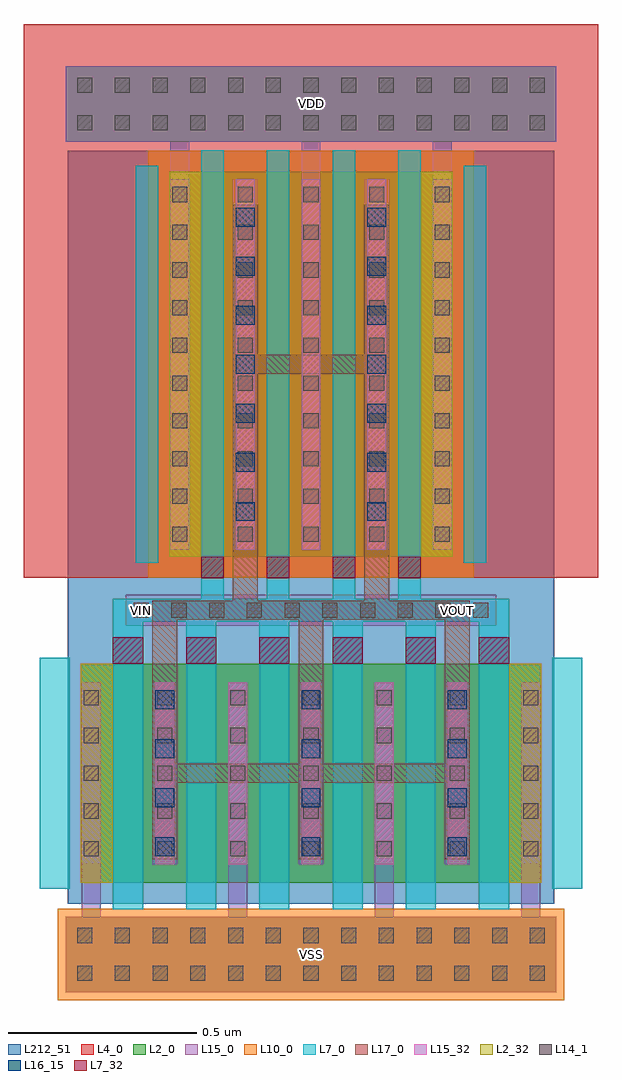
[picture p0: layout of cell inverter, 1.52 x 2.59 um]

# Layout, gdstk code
import gdstk
lib = gdstk.Library(unit=1e-6, precision=1e-09)
def R(c, l, rs):  # rectangles x0, y0, x1, y1
    for r in rs: c.add(gdstk.rectangle(r[:2], r[2:], *l))
def A(c, l, x, y, w, h, nx, ny, dx, dy):  # array of equal rectangles
    R(c, l, [(x+i*dx, y+j*dy, x+i*dx+w, y+j*dy+h) for i in range(nx) for j in range(ny)])
L2_0 = (2, 0)
L2_32 = (2, 32)
L4_0 = (4, 0)
L7_0 = (7, 0)
L7_32 = (7, 32)
L10_0 = (10, 0)
L14_1 = (14, 1)
L15_0 = (15, 0)
L15_32 = (15, 32)
L16_15 = (16, 15)
L17_0 = (17, 0)
L212_51 = (212, 51)

nmosininverter = lib.new_cell('nmosIninverter')
R(nmosininverter, L2_0, [(-0.61,-0.29,0.61,0.29)])
R(nmosininverter, L2_32, [(-0.61,-0.29,-0.525,0.29), (0.525,-0.29,0.61,0.29)])
A(nmosininverter, L7_0, -0.525, -0.36, 0.08, 0.72, 6, 1, 0.194, 0)
R(nmosininverter, L7_0, [(-0.719,-0.306,-0.639,0.306), (0.639,-0.306,0.719,0.306)])
A(nmosininverter, L7_32, -0.525, 0.29, 0.08, 0.07, 6, 1, 0.194, 0)
A(nmosininverter, L14_1, -0.602, -0.22, 0.04, 0.04, 7, 5, 0.194, 0.1)
A(nmosininverter, L15_0, -0.607, -0.241, 0.05, 0.482, 7, 1, 0.194, 0)
A(nmosininverter, L15_32, -0.607, -0.241, 0.05, 0.482, 7, 1, 0.194, 0)
R(nmosininverter, L212_51, [(-0.645,-0.346,0.645,0.346)])

pmosininverter = lib.new_cell('pmosIninverter')
R(pmosininverter, L2_0, [(-0.376,-0.51,0.376,0.51)])
R(pmosininverter, L2_32, [(-0.376,-0.51,-0.291,0.51), (0.291,-0.51,0.376,0.51)])
A(pmosininverter, L7_0, -0.291, -0.567, 0.06, 1.134, 4, 1, 0.174, 0)
R(pmosininverter, L7_0, [(-0.465,-0.526,-0.405,0.526), (0.405,-0.526,0.465,0.526)])
A(pmosininverter, L7_32, -0.291, -0.567, 0.06, 0.057, 4, 1, 0.174, 0)
R(pmosininverter, L10_0, [(-0.432,-0.566,0.432,0.566)])
A(pmosininverter, L14_1, -0.368, -0.47, 0.04, 0.04, 5, 10, 0.174, 0.1)
A(pmosininverter, L15_0, -0.373, -0.491, 0.05, 0.982, 5, 1, 0.174, 0)
A(pmosininverter, L15_32, -0.373, -0.491, 0.05, 0.982, 5, 1, 0.174, 0)
R(pmosininverter, L212_51, [(-0.411,-0.566,0.411,0.566)])

vdd_supplyininverter = lib.new_cell('vdd_supplyIninverter')
R(vdd_supplyininverter, L2_0, [(-0.65,-0.1,0.65,0.1)])
A(vdd_supplyininverter, L14_1, -0.62, -0.07, 0.04, 0.04, 13, 2, 0.1, 0.1)
R(vdd_supplyininverter, L15_0, [(-0.65,-0.1,0.65,0.1)])

vss_supplyininverter = lib.new_cell('vss_supplyIninverter')
R(vss_supplyininverter, L2_0, [(-0.65,-0.1,0.65,0.1)])
R(vss_supplyininverter, L10_0, [(-0.671,-0.121,0.671,0.121)])
A(vss_supplyininverter, L14_1, -0.62, -0.07, 0.04, 0.04, 13, 2, 0.1, 0.1)
R(vss_supplyininverter, L15_0, [(-0.65,-0.1,0.65,0.1)])

gate_contactsininverter = lib.new_cell('gate_contactsIninverter')
R(gate_contactsininverter, L7_0, [(-0.48,-0.03,0.48,0.03)])
A(gate_contactsininverter, L14_1, -0.47, -0.02, 0.04, 0.04, 10, 1, 0.1, 0)
R(gate_contactsininverter, L15_0, [(-0.491,-0.041,0.491,0.041)])

nmos_viasininverter = lib.new_cell('nmos_viasIninverter')
R(nmos_viasininverter, L15_0, [(-0.033,-0.228,0.033,0.228)])
A(nmos_viasininverter, L16_15, -0.025, -0.22, 0.05, 0.05, 1, 4, 0, 0.13)
R(nmos_viasininverter, L17_0, [(-0.033,-0.228,0.033,0.228)])

pmos_viasininverter = lib.new_cell('pmos_viasIninverter')
R(pmos_viasininverter, L15_0, [(-0.033,-0.423,0.033,0.423)])
A(pmos_viasininverter, L16_15, -0.025, -0.415, 0.05, 0.05, 1, 7, 0, 0.13)
R(pmos_viasininverter, L17_0, [(-0.033,-0.423,0.033,0.423)])

inverter = lib.new_cell('inverter')
R(inverter, L4_0, [(-0.762,0.829,0.762,2.297), (-0.762,1.962,0.762,2.068)])
R(inverter, L7_0, [(-0.525,0.713,0.525,0.773)])
R(inverter, L10_0, [(-0.166,-0.29,0.166,-0.048)])
A(inverter, L15_0, -0.421, 0.07, 0.066, 0.482, 3, 1, 0.388, 0)
R(inverter, L15_0, [(-0.207,0.904,-0.141,1.886), (0.141,0.904,0.207,1.886)])
R(inverter, L17_0, [(-0.421,0.718,0.421,0.768)])
R(inverter, L212_51, [(-0.645,-0.035,0.645,1.961)])
inverter.add(gdstk.FlexPath([(-0.582,0.311),(-0.582,-0.269)], 0.05, ends="flush", simple_path=True, layer=15, datatype=0))  # L15_0
inverter.add(gdstk.FlexPath([(-0.194,0.311),(-0.194,-0.269)], 0.05, ends="flush", simple_path=True, layer=15, datatype=0))  # L15_0
inverter.add(gdstk.FlexPath([(0.194,0.311),(0.194,-0.269)], 0.05, ends="flush", simple_path=True, layer=15, datatype=0))  # L15_0
inverter.add(gdstk.FlexPath([(0.582,0.311),(0.582,-0.269)], 0.05, ends="flush", simple_path=True, layer=15, datatype=0))  # L15_0
inverter.add(gdstk.FlexPath([(-0.348,1.395),(-0.348,2.185)], 0.05, ends="flush", simple_path=True, layer=15, datatype=0))  # L15_0
inverter.add(gdstk.FlexPath([(0,1.395),(0,2.185)], 0.05, ends="flush", simple_path=True, layer=15, datatype=0))  # L15_0
inverter.add(gdstk.FlexPath([(0.348,1.395),(0.348,2.185)], 0.05, ends="flush", simple_path=True, layer=15, datatype=0))  # L15_0
inverter.add(gdstk.FlexPath([(-0.174,1.395),(0.174,1.395)], 0.05, ends="flush", simple_path=True, layer=17, datatype=0))  # L17_0
inverter.add(gdstk.FlexPath([(-0.388,0.311),(0.388,0.311)], 0.05, ends="flush", simple_path=True, layer=17, datatype=0))  # L17_0
inverter.add(gdstk.FlexPath([(-0.261,1.395),(-0.261,0.743)], 0.06, ends="flush", simple_path=True, layer=7, datatype=0))  # L7_0
inverter.add(gdstk.FlexPath([(-0.087,1.395),(-0.087,0.743)], 0.06, ends="flush", simple_path=True, layer=7, datatype=0))  # L7_0
inverter.add(gdstk.FlexPath([(0.087,1.395),(0.087,0.743)], 0.06, ends="flush", simple_path=True, layer=7, datatype=0))  # L7_0
inverter.add(gdstk.FlexPath([(0.261,1.395),(0.261,0.743)], 0.06, ends="flush", simple_path=True, layer=7, datatype=0))  # L7_0
inverter.add(gdstk.FlexPath([(-0.485,0.311),(-0.485,0.743)], 0.08, ends="flush", simple_path=True, layer=7, datatype=0))  # L7_0
inverter.add(gdstk.FlexPath([(-0.291,0.311),(-0.291,0.743)], 0.08, ends="flush", simple_path=True, layer=7, datatype=0))  # L7_0
inverter.add(gdstk.FlexPath([(-0.097,0.311),(-0.097,0.743)], 0.08, ends="flush", simple_path=True, layer=7, datatype=0))  # L7_0
inverter.add(gdstk.FlexPath([(0.097,0.311),(0.097,0.743)], 0.08, ends="flush", simple_path=True, layer=7, datatype=0))  # L7_0
inverter.add(gdstk.FlexPath([(0.291,0.311),(0.291,0.743)], 0.08, ends="flush", simple_path=True, layer=7, datatype=0))  # L7_0
inverter.add(gdstk.FlexPath([(0.485,0.311),(0.485,0.743)], 0.08, ends="flush", simple_path=True, layer=7, datatype=0))  # L7_0
inverter.add(gdstk.FlexPath([(-0.174,1.395),(-0.174,0.743)], 0.066, ends="flush", simple_path=True, layer=17, datatype=0))  # L17_0
inverter.add(gdstk.FlexPath([(0.174,1.395),(0.174,0.743)], 0.066, ends="flush", simple_path=True, layer=17, datatype=0))  # L17_0
inverter.add(gdstk.FlexPath([(-0.388,0.311),(-0.388,0.743)], 0.066, ends="flush", simple_path=True, layer=17, datatype=0))  # L17_0
inverter.add(gdstk.FlexPath([(0,0.311),(0,0.743)], 0.066, ends="flush", simple_path=True, layer=17, datatype=0))  # L17_0
inverter.add(gdstk.FlexPath([(0.388,0.311),(0.388,0.743)], 0.066, ends="flush", simple_path=True, layer=17, datatype=0))  # L17_0
inverter.add(gdstk.Reference(nmosininverter, (0,0.311)))
inverter.add(gdstk.Reference(pmosininverter, (0,1.395)))
inverter.add(gdstk.Reference(vdd_supplyininverter, (0,2.085)))
inverter.add(gdstk.Reference(vss_supplyininverter, (0,-0.169)))
inverter.add(gdstk.Reference(gate_contactsininverter, (0,0.743)))
inverter.add(gdstk.Reference(nmos_viasininverter, (-0.388,0.311)))
inverter.add(gdstk.Reference(nmos_viasininverter, (0,0.311)))
inverter.add(gdstk.Reference(nmos_viasininverter, (0.388,0.311)))
inverter.add(gdstk.Reference(pmos_viasininverter, (-0.174,1.395)))
inverter.add(gdstk.Reference(pmos_viasininverter, (0.174,1.395)))
inverter.add(gdstk.Label('VOUT', (0.388,0.743), layer=17, texttype=20))
inverter.add(gdstk.Label('VSS', (0,-0.169), layer=15, texttype=20))
inverter.add(gdstk.Label('VDD', (0,2.085), layer=15, texttype=20))
inverter.add(gdstk.Label('VIN', (-0.45,0.743), layer=15, texttype=20))

lib.write_gds('inverter.gds')
